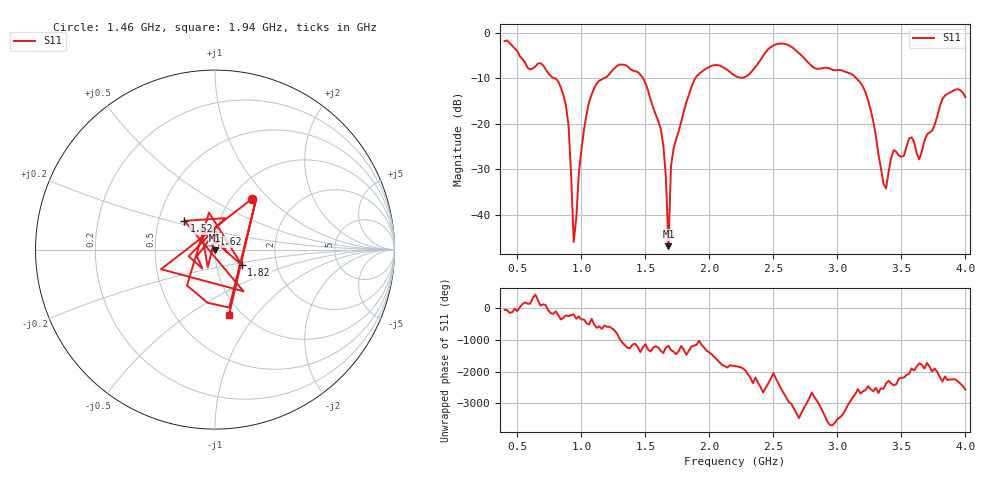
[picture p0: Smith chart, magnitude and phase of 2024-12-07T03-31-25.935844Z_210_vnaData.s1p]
!Created with skrf (http://scikit-rf.org).
# Hz S RI R 50.0
!freq ReS11 ImS11
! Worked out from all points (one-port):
!   181 points, 400 MHz to 4 GHz, reference 50 ohm
!   lowest |S11| = -46.9 dB at 1.68 GHz (marker M1), VSWR 1.01, Z = 49.9 - j0.426 ohm
!   |S11| at or under -10 dB: 790 MHz to 1.175 GHz (385.4 MHz wide, 39.2 % of centre); 1.482 GHz to 1.89 GHz (408.6 MHz wide, 24.2 % of centre); 3.148 GHz to end of sweep
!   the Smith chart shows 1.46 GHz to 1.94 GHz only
!   S11 on the Smith chart (normalised r, x): 1.46 GHz: 1.23, +0.79; 1.52 GHz: 0.68, +0.23; 1.62 GHz: 0.97, +0.17; 1.82 GHz: 1.33, -0.23; 1.94 GHz: 0.88, -0.74
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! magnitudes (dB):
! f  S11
! 400 MHz  -1.8
! 860 MHz  -13.8
! 900 MHz  -20.6
! 940 MHz  -46.0
! 980 MHz  -30.8
! 1.06 GHz  -15.2
! 1.3 GHz  -7.0
! 1.46 GHz  -9.2
! 1.52 GHz  -12.6
! 1.62 GHz  -21.1
! 1.66 GHz  -31.7
! 1.68 GHz  -46.9
! 1.7 GHz  -29.3
! 1.76 GHz  -21.7
! 1.82 GHz  -15.3
! 1.94 GHz  -8.6
! 2.2 GHz  -9.4
! 2.5 GHz  -2.8
! 2.66 GHz  -3.5
! 3.1 GHz  -8.9
! 3.24 GHz  -14.9
! 3.38 GHz  -34.2
! 3.44 GHz  -25.8
! 3.52 GHz  -27.0
! 3.56 GHz  -23.3
! 3.64 GHz  -27.8
! 3.84 GHz  -13.8
! 4 GHz  -14.2
